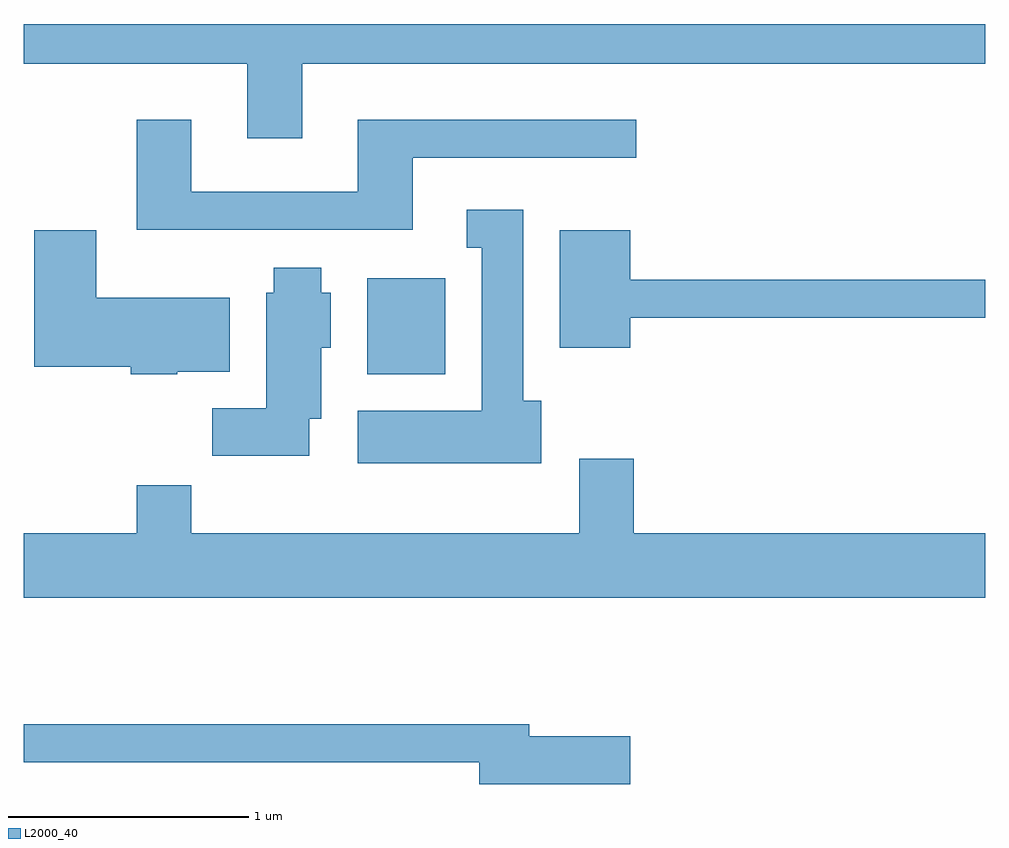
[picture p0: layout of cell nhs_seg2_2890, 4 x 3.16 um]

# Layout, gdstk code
import gdstk
lib = gdstk.Library(unit=1e-6, precision=1e-09)
def R(c, l, rs):  # rectangles x0, y0, x1, y1
    for r in rs: c.add(gdstk.rectangle(r[:2], r[2:], *l))
def P(c, l, *ps):  # polygons
    for p in ps: c.add(gdstk.Polygon(p, *l))
L2000_40 = (2000, 40)

nhs_seg2_2890 = lib.new_cell('nhs_seg2_2890')
R(nhs_seg2_2890, L2000_40, [(271.041,1060.346,271.364,1060.744)])
P(nhs_seg2_2890, L2000_40, [(270.769,1061.636),(273.611,1061.636),(273.611,1061.802),(269.611,1061.802),(269.611,1061.636),(270.541,1061.636),(270.541,1061.326),(270.769,1061.326)],
  [(271.229,1061.246),(272.158,1061.246),(272.158,1061.404),(271.001,1061.404),(271.001,1061.104),(270.309,1061.104),(270.309,1061.404),(270.081,1061.404),(270.081,1060.946),(271.229,1060.946)],
  [(271.764,1060.234),(271.689,1060.234),(271.689,1061.029),(271.453,1061.029),(271.453,1060.871),(271.516,1060.871),(271.516,1060.194),(271.001,1060.194),(271.001,1059.976),(271.764,1059.976)],
  [(272.134,1060.581),(273.611,1060.581),(273.611,1060.739),(272.134,1060.739),(272.134,1060.944),(271.841,1060.944),(271.841,1060.456),(272.134,1060.456)],
  [(270.25,1060.356),(270.469,1060.356),(270.469,1060.664),(269.914,1060.664),(269.914,1060.944),(269.656,1060.944),(269.656,1060.376),(270.056,1060.376),(270.056,1060.346),(270.25,1060.346)],
  [(270.799,1060.161),(270.849,1060.161),(270.849,1060.456),(270.889,1060.456),(270.889,1060.684),(270.849,1060.684),(270.849,1060.789),(270.651,1060.789),(270.651,1060.684),(270.621,1060.684),(270.621,1060.204),(270.396,1060.204),(270.396,1060.006),(270.799,1060.006)],
  [(273.611,1059.684),(272.149,1059.684),(272.149,1059.994),(271.921,1059.994),(271.921,1059.684),(270.309,1059.684),(270.309,1059.884),(270.081,1059.884),(270.081,1059.684),(269.611,1059.684),(269.611,1059.416),(273.611,1059.416)],
  [(272.134,1058.839),(271.714,1058.839),(271.714,1058.889),(269.611,1058.889),(269.611,1058.731),(271.506,1058.731),(271.506,1058.641),(272.134,1058.641)])

lib.write_gds('nhs_seg2_2890.gds')
